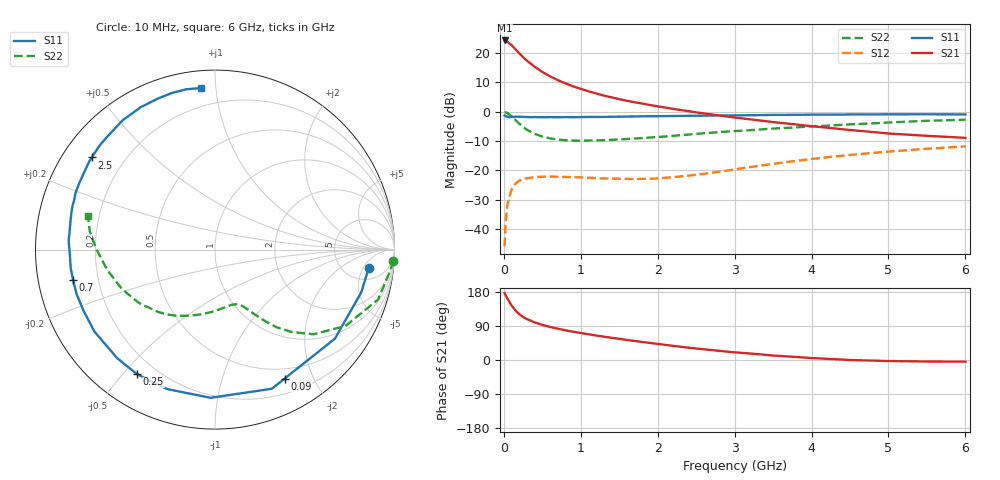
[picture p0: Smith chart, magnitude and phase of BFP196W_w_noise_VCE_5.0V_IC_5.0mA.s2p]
! Infineon Technologies  Discrete & RF Semiconductors
! BFP196W
! VCE =  5.0 V,  IC =  5.0 mA
! Common Emitter S-Parameters:  Jan 2017
# GHz  S  MA  R  50
!  f  S11  S21  S12  S22
! GHz  MAG  ANG  MAG  ANG  MAG  ANG  MAG  ANG
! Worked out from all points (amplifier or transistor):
!   77 points, 10 MHz to 6 GHz, reference 50 ohm
!   highest |S21| = 24.3 dB at 10 MHz (marker M1)
!   |S21| within 3 dB of that: start of sweep to 151.6 MHz
!   unconditionally stable (mu >= 1): 1.587 GHz to 3.167 GHz
!   at 130 MHz: K = 0.09, MSG = 23.6 dB, |S12| = -25.3 dB
!   at 2.2 GHz: K = 1.16, MAG = 9.2 dB, |S12| = -22.3 dB
!   at 6 GHz: K = 0.91, MSG = 1.5 dB, |S12| = -11.8 dB
!   lowest NFmin = 0.90 dB at 450 MHz
!   S11 on the Smith chart (normalised r, x): 10 MHz: 8, -7; 90 MHz: 0.37, -1.61; 250 MHz: 0.13, -0.55; 700 MHz: 0.11, -0.11; 2.5 GHz: 0.09, +0.33; 6 GHz: 0.09, +0.91
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0.01  0.8624 -6.9  16.48 177.1  0.0051 85.7  0.9964 -3.6
0.02  0.8491 -16.3  16.33 172.1  0.0107 83.6  0.9828 -6.9
0.05  0.8322 -36.6  15.6 160.6  0.0275 71.5  0.9505 -17.0
0.09  0.8168 -61.7  14.03 147.4  0.0426 58.3  0.8595 -27.5
0.1  0.8374 -67.8  13.77 143.7  0.0466 56.4  0.8418 -30.4
0.15  0.8261 -91.7  11.73 131.0  0.0596 45.1  0.7233 -40.7
0.2  0.8215 -109.0  9.97 121.1  0.0668 37.1  0.6281 -47.0
0.25  0.8187 -122.1  8.565 113.5  0.0715 31.0  0.553 -51.5
0.3  0.8141 -132.0  7.44 107.8  0.0735 27.1  0.4945 -54.6
0.4  0.8124 -145.8  5.865 99.0  0.0769 21.6  0.4205 -58.7
0.5  0.8077 -155.2  4.782 92.6  0.0779 17.8  0.3782 -61.4
0.6  0.8101 -162.3  4.033 87.3  0.0785 16.0  0.3522 -63.8
0.7  0.8089 -167.8  3.474 82.7  0.0777 14.7  0.3353 -66.1
0.9  0.8087 -176.8  2.718 74.6  0.077 14.1  0.3227 -71.1
1.1  0.8172 176.4  2.24 67.9  0.0749 14.9  0.3233 -76.3
1.5  0.8262 165.5  1.645 55.8  0.0721 19.7  0.3372 -88.0
2.1  0.8441 151.3  1.179 40.0  0.0749 33.6  0.3798 -106.4
2.5  0.8573 143.2  0.98 30.4  0.0844 42.2  0.4189 -118.4
3.1  0.871 132.2  0.771 18.7  0.1088 49.1  0.477 -134.9
4.1  0.8946 116.2  0.552 4.2  0.1621 48.2  0.5712 -159.8
5.1  0.9052 104.1  0.419 -3.0  0.2141 40.6  0.6654 178.6
6  0.9035 95.0  0.359 -4.4  0.257 32.1  0.7329 165.1
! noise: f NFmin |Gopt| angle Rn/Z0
0.45  0.9  0.44  123  0.09
0.9  1.32  0.6  159  0.06
1.9  2.72  0.75  -161  0.11
2.4  3.29  0.8  -151  0.28
